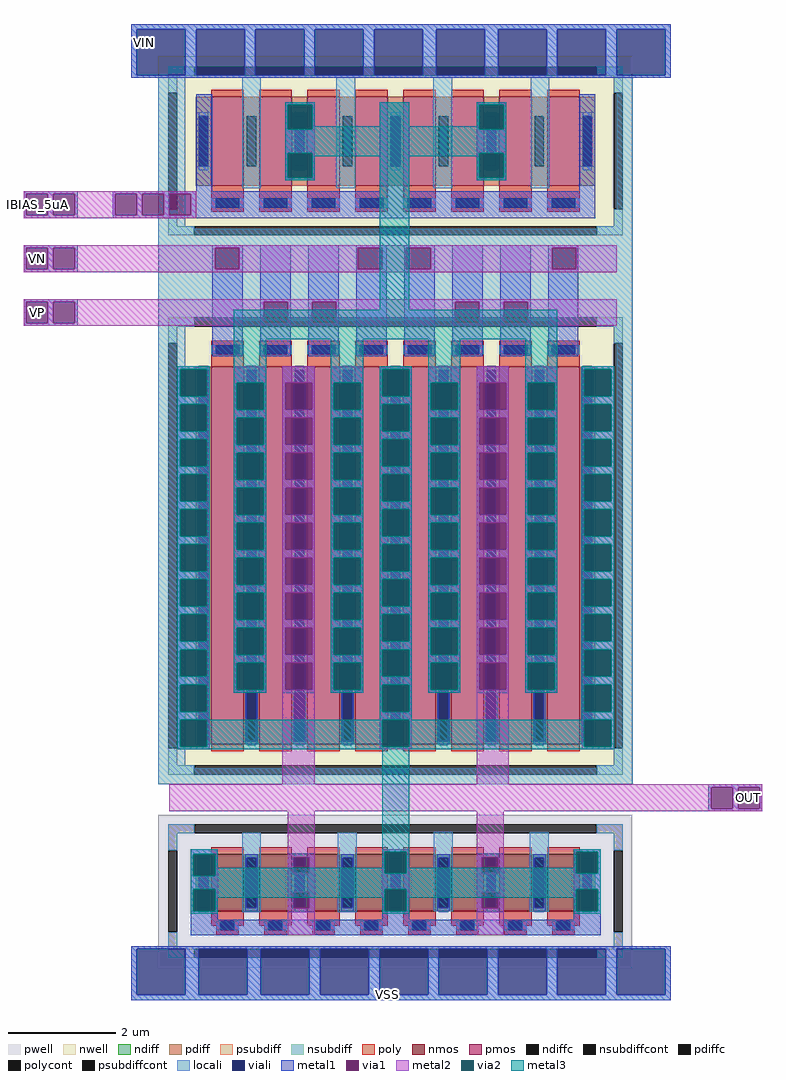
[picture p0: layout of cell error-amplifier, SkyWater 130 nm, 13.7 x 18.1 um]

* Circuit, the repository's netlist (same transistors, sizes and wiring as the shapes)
* NGSPICE file created from error-amplifier.ext - technology: sky130A

.subckt sky130_fd_pr__nfet_01v8_UX2DZA a_n207_n74# a_505_n74# a_n327_n129# a_327_n74#
+ a_385_n129# a_149_n74# a_n29_n74# a_n149_n129# a_207_n129# a_n741_n74# a_n563_n74#
+ a_n385_n74# a_683_n74# a_n843_n248# a_29_n129# a_n683_n129# a_n505_n129# a_563_n129#
X0 a_149_n74# a_29_n129# a_n29_n74# a_n843_n248# sky130_fd_pr__nfet_01v8 ad=0.15225 pd=1.34 as=0.15225 ps=1.34 w=1.05 l=0.6
X1 a_683_n74# a_563_n129# a_505_n74# a_n843_n248# sky130_fd_pr__nfet_01v8 ad=0.3045 pd=2.68 as=0.15225 ps=1.34 w=1.05 l=0.6
X2 a_n563_n74# a_n683_n129# a_n741_n74# a_n843_n248# sky130_fd_pr__nfet_01v8 ad=0.15225 pd=1.34 as=0.3045 ps=2.68 w=1.05 l=0.6
X3 a_327_n74# a_207_n129# a_149_n74# a_n843_n248# sky130_fd_pr__nfet_01v8 ad=0.15225 pd=1.34 as=0.15225 ps=1.34 w=1.05 l=0.6
X4 a_n207_n74# a_n327_n129# a_n385_n74# a_n843_n248# sky130_fd_pr__nfet_01v8 ad=0.15225 pd=1.34 as=0.15225 ps=1.34 w=1.05 l=0.6
X5 a_505_n74# a_385_n129# a_327_n74# a_n843_n248# sky130_fd_pr__nfet_01v8 ad=0.15225 pd=1.34 as=0.15225 ps=1.34 w=1.05 l=0.6
X6 a_n29_n74# a_n149_n129# a_n207_n74# a_n843_n248# sky130_fd_pr__nfet_01v8 ad=0.15225 pd=1.34 as=0.15225 ps=1.34 w=1.05 l=0.6
X7 a_n385_n74# a_n505_n129# a_n563_n74# a_n843_n248# sky130_fd_pr__nfet_01v8 ad=0.15225 pd=1.34 as=0.15225 ps=1.34 w=1.05 l=0.6
.ends

.subckt sky130_fd_pr__pfet_01v8_23YNHG a_n741_n736# a_n327_n762# a_385_n762# a_n563_n736#
+ a_683_n736# a_n149_n762# a_207_n762# w_n879_n884# a_n385_n736# a_505_n736# a_29_n762#
+ a_n683_n762# a_n207_n736# a_327_n736# a_n505_n762# a_n29_n736# a_563_n762# a_149_n736#
X0 a_n207_n736# a_n327_n762# a_n385_n736# w_n879_n884# sky130_fd_pr__pfet_01v8 ad=1.015 pd=7.29 as=1.015 ps=7.29 w=7 l=0.6
X1 a_683_n736# a_563_n762# a_505_n736# w_n879_n884# sky130_fd_pr__pfet_01v8 ad=2.03 pd=14.58 as=1.015 ps=7.29 w=7 l=0.6
X2 a_n29_n736# a_n149_n762# a_n207_n736# w_n879_n884# sky130_fd_pr__pfet_01v8 ad=1.015 pd=7.29 as=1.015 ps=7.29 w=7 l=0.6
X3 a_n563_n736# a_n683_n762# a_n741_n736# w_n879_n884# sky130_fd_pr__pfet_01v8 ad=1.015 pd=7.29 as=2.03 ps=14.58 w=7 l=0.6
X4 a_505_n736# a_385_n762# a_327_n736# w_n879_n884# sky130_fd_pr__pfet_01v8 ad=1.015 pd=7.29 as=1.015 ps=7.29 w=7 l=0.6
X5 a_n385_n736# a_n505_n762# a_n563_n736# w_n879_n884# sky130_fd_pr__pfet_01v8 ad=1.015 pd=7.29 as=1.015 ps=7.29 w=7 l=0.6
X6 a_327_n736# a_207_n762# a_149_n736# w_n879_n884# sky130_fd_pr__pfet_01v8 ad=1.015 pd=7.29 as=1.015 ps=7.29 w=7 l=0.6
X7 a_149_n736# a_29_n762# a_n29_n736# w_n879_n884# sky130_fd_pr__pfet_01v8 ad=1.015 pd=7.29 as=1.015 ps=7.29 w=7 l=0.6
.ends

.subckt sky130_fd_pr__pfet_01v8_ZYDSUC a_n385_n129# a_207_n226# w_n879_n349# a_505_n129#
+ a_n207_n129# a_29_n226# a_n683_n226# a_327_n129# a_n29_n129# a_149_n129# a_n505_n226#
+ a_563_n226# a_n741_n129# a_n327_n226# a_385_n226# a_n563_n129# a_683_n129# a_n149_n226#
X0 a_n385_n129# a_n505_n226# a_n563_n129# w_n879_n349# sky130_fd_pr__pfet_01v8 ad=0.23925 pd=1.94 as=0.23925 ps=1.94 w=1.65 l=0.6
X1 a_327_n129# a_207_n226# a_149_n129# w_n879_n349# sky130_fd_pr__pfet_01v8 ad=0.23925 pd=1.94 as=0.23925 ps=1.94 w=1.65 l=0.6
X2 a_149_n129# a_29_n226# a_n29_n129# w_n879_n349# sky130_fd_pr__pfet_01v8 ad=0.23925 pd=1.94 as=0.23925 ps=1.94 w=1.65 l=0.6
X3 a_n207_n129# a_n327_n226# a_n385_n129# w_n879_n349# sky130_fd_pr__pfet_01v8 ad=0.23925 pd=1.94 as=0.23925 ps=1.94 w=1.65 l=0.6
X4 a_683_n129# a_563_n226# a_505_n129# w_n879_n349# sky130_fd_pr__pfet_01v8 ad=0.4785 pd=3.88 as=0.23925 ps=1.94 w=1.65 l=0.6
X5 a_n29_n129# a_n149_n226# a_n207_n129# w_n879_n349# sky130_fd_pr__pfet_01v8 ad=0.23925 pd=1.94 as=0.23925 ps=1.94 w=1.65 l=0.6
X6 a_n563_n129# a_n683_n226# a_n741_n129# w_n879_n349# sky130_fd_pr__pfet_01v8 ad=0.23925 pd=1.94 as=0.4785 ps=3.88 w=1.65 l=0.6
X7 a_505_n129# a_385_n226# a_327_n129# w_n879_n349# sky130_fd_pr__pfet_01v8 ad=0.23925 pd=1.94 as=0.23925 ps=1.94 w=1.65 l=0.6
.ends

.subckt error-amplifier VIN VP VN IBIAS_5uA OUT VSS
XXM2 VSS VSS m1_1470_n1270# OUT m1_1470_n1270# VSS m1_1470_n1270# m1_1470_n1270# m1_1470_n1270#
+ m1_1470_n1270# VSS OUT m1_1470_n1270# VSS m1_1470_n1270# m1_1470_n1270# m1_1470_n1270#
+ m1_1470_n1270# sky130_fd_pr__nfet_01v8_UX2DZA
XXM3 m1_1470_n1270# VP VP m1_1680_n1060# m1_1470_n1270# VN VP VIN OUT m1_1680_n1060#
+ VN VN m1_1680_n1060# OUT VP m1_1470_n1270# VN m1_1680_n1060# sky130_fd_pr__pfet_01v8_23YNHG
XXM5 m1_1680_n1060# IBIAS_5uA VIN VIN VIN IBIAS_5uA IBIAS_5uA m1_1680_n1060# IBIAS_5uA
+ VIN IBIAS_5uA IBIAS_5uA IBIAS_5uA IBIAS_5uA IBIAS_5uA VIN IBIAS_5uA IBIAS_5uA sky130_fd_pr__pfet_01v8_ZYDSUC
.ends

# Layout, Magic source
magic
tech sky130A
magscale 1 2
<< nwell >>
rect 1400 -1400 3158 1300
<< locali >>
rect 1300 1400 3300 1420
rect 1300 1230 1320 1400
rect 1500 1230 1540 1400
rect 1720 1230 1760 1400
rect 1940 1230 1980 1400
rect 2160 1230 2200 1400
rect 2380 1230 2430 1400
rect 2610 1230 2660 1400
rect 2840 1230 2880 1400
rect 3060 1230 3100 1400
rect 3280 1230 3300 1400
rect 1300 1220 3300 1230
rect 1400 660 1500 1220
rect 1710 810 1780 1220
rect 2060 810 2130 1220
rect 2420 810 2490 1220
rect 2780 810 2850 1220
rect 3100 660 3160 1220
rect 1400 320 3160 660
rect 1400 -1340 1500 320
rect 3100 -1340 3160 320
rect 1400 -1400 3160 -1340
rect 1710 -1874 1780 -1580
rect 2066 -1874 2136 -1580
rect 2422 -1870 2492 -1576
rect 2778 -1872 2848 -1578
rect 1300 -2010 3300 -2000
rect 1300 -2180 1320 -2010
rect 1500 -2180 1550 -2010
rect 1730 -2180 1780 -2010
rect 1960 -2180 2000 -2010
rect 2180 -2180 2220 -2010
rect 2400 -2180 2440 -2010
rect 2620 -2180 2660 -2010
rect 2840 -2180 2880 -2010
rect 3060 -2180 3100 -2010
rect 3280 -2180 3300 -2010
rect 1300 -2200 3300 -2180
<< viali >>
rect 1320 1230 1500 1400
rect 1540 1230 1720 1400
rect 1760 1230 1940 1400
rect 1980 1230 2160 1400
rect 2200 1230 2380 1400
rect 2430 1230 2610 1400
rect 2660 1230 2840 1400
rect 2880 1230 3060 1400
rect 3100 1230 3280 1400
rect 1320 -2180 1500 -2010
rect 1550 -2180 1730 -2010
rect 1780 -2180 1960 -2010
rect 2000 -2180 2180 -2010
rect 2220 -2180 2400 -2010
rect 2440 -2180 2620 -2010
rect 2660 -2180 2840 -2010
rect 2880 -2180 3060 -2010
rect 3100 -2180 3280 -2010
<< metal1 >>
rect 1300 1400 3300 1420
rect 1300 1230 1320 1400
rect 1500 1230 1540 1400
rect 1720 1230 1760 1400
rect 1940 1230 1980 1400
rect 2160 1230 2200 1400
rect 2380 1230 2430 1400
rect 2610 1230 2660 1400
rect 2840 1230 2880 1400
rect 3060 1230 3100 1400
rect 3280 1230 3300 1400
rect 1300 1220 3300 1230
rect 1540 800 1600 1160
rect 1870 1120 1980 1130
rect 1870 1030 1880 1120
rect 1970 1030 1980 1120
rect 1870 940 1980 1030
rect 1870 850 1880 940
rect 1970 850 1980 940
rect 1870 840 1980 850
rect 2220 800 2330 1130
rect 2580 1120 2690 1130
rect 2580 1030 2590 1120
rect 2680 1030 2690 1120
rect 2580 940 2690 1030
rect 2580 850 2590 940
rect 2680 850 2690 940
rect 2580 840 2690 850
rect 2960 800 3020 1160
rect 900 790 1100 800
rect 900 710 910 790
rect 990 710 1010 790
rect 1090 710 1100 790
rect 900 700 1100 710
rect 1230 790 3020 800
rect 1230 710 1240 790
rect 1320 710 1340 790
rect 1420 710 1440 790
rect 1520 710 3020 790
rect 1230 700 3020 710
rect 900 590 1100 600
rect 900 510 910 590
rect 990 510 1010 590
rect 1090 510 1100 590
rect 900 500 1100 510
rect 1600 590 1712 600
rect 1600 510 1610 590
rect 1700 510 1712 590
rect 900 390 1100 400
rect 900 310 910 390
rect 990 310 1010 390
rect 1090 310 1100 390
rect 900 300 1100 310
rect 1600 188 1712 510
rect 1778 390 1890 600
rect 1778 310 1790 390
rect 1880 310 1890 390
rect 1778 188 1890 310
rect 1956 390 2068 600
rect 1956 310 1970 390
rect 2060 310 2068 390
rect 1956 188 2068 310
rect 2134 590 2246 600
rect 2134 510 2140 590
rect 2230 510 2246 590
rect 2134 188 2246 510
rect 2312 590 2424 600
rect 2312 510 2320 590
rect 2410 510 2424 590
rect 2312 188 2424 510
rect 2490 390 2602 600
rect 2490 310 2500 390
rect 2590 310 2602 390
rect 2490 188 2602 310
rect 2668 390 2780 600
rect 2668 310 2680 390
rect 2770 310 2780 390
rect 2668 190 2780 310
rect 2846 590 2958 600
rect 2846 510 2860 590
rect 2950 510 2958 590
rect 2668 188 2750 190
rect 2846 188 2958 510
rect 1470 140 1590 150
rect 1470 40 1480 140
rect 1580 40 1590 140
rect 1470 10 1590 40
rect 1470 -90 1480 10
rect 1580 -90 1590 10
rect 1470 -120 1590 -90
rect 1470 -220 1480 -120
rect 1580 -220 1590 -120
rect 1470 -250 1590 -220
rect 1470 -350 1480 -250
rect 1580 -350 1590 -250
rect 1470 -380 1590 -350
rect 1470 -480 1480 -380
rect 1580 -480 1590 -380
rect 1470 -510 1590 -480
rect 1470 -610 1480 -510
rect 1580 -610 1590 -510
rect 1470 -640 1590 -610
rect 1470 -740 1480 -640
rect 1580 -740 1590 -640
rect 1470 -770 1590 -740
rect 1470 -870 1480 -770
rect 1580 -870 1590 -770
rect 1470 -900 1590 -870
rect 1470 -1000 1480 -900
rect 1580 -1000 1590 -900
rect 1470 -1030 1590 -1000
rect 1470 -1130 1480 -1030
rect 1580 -1130 1590 -1030
rect 1680 90 1800 150
rect 1680 -10 1690 90
rect 1790 -10 1800 90
rect 1680 -40 1800 -10
rect 1680 -140 1690 -40
rect 1790 -140 1800 -40
rect 1680 -170 1800 -140
rect 1680 -270 1690 -170
rect 1790 -270 1800 -170
rect 1680 -300 1800 -270
rect 1680 -400 1690 -300
rect 1790 -400 1800 -300
rect 1680 -430 1800 -400
rect 1680 -530 1690 -430
rect 1790 -530 1800 -430
rect 1680 -560 1800 -530
rect 1680 -660 1690 -560
rect 1790 -660 1800 -560
rect 1680 -690 1800 -660
rect 1680 -790 1690 -690
rect 1790 -790 1800 -690
rect 1680 -820 1800 -790
rect 1680 -920 1690 -820
rect 1790 -920 1800 -820
rect 1680 -950 1800 -920
rect 1680 -1050 1690 -950
rect 1790 -1050 1800 -950
rect 1680 -1060 1800 -1050
rect 1860 90 1980 150
rect 1860 -10 1870 90
rect 1970 -10 1980 90
rect 1860 -40 1980 -10
rect 1860 -140 1870 -40
rect 1970 -140 1980 -40
rect 1860 -170 1980 -140
rect 1860 -270 1870 -170
rect 1970 -270 1980 -170
rect 1860 -300 1980 -270
rect 1860 -400 1870 -300
rect 1970 -400 1980 -300
rect 1860 -430 1980 -400
rect 1860 -530 1870 -430
rect 1970 -530 1980 -430
rect 1860 -560 1980 -530
rect 1860 -660 1870 -560
rect 1970 -660 1980 -560
rect 1860 -690 1980 -660
rect 1860 -790 1870 -690
rect 1970 -790 1980 -690
rect 1860 -820 1980 -790
rect 1860 -920 1870 -820
rect 1970 -920 1980 -820
rect 1860 -950 1980 -920
rect 1860 -1050 1870 -950
rect 1970 -1050 1980 -950
rect 1860 -1060 1980 -1050
rect 2040 90 2160 150
rect 2040 -10 2050 90
rect 2150 -10 2160 90
rect 2040 -40 2160 -10
rect 2040 -140 2050 -40
rect 2150 -140 2160 -40
rect 2040 -170 2160 -140
rect 2040 -270 2050 -170
rect 2150 -270 2160 -170
rect 2040 -300 2160 -270
rect 2040 -400 2050 -300
rect 2150 -400 2160 -300
rect 2040 -430 2160 -400
rect 2040 -530 2050 -430
rect 2150 -530 2160 -430
rect 2040 -560 2160 -530
rect 2040 -660 2050 -560
rect 2150 -660 2160 -560
rect 2040 -690 2160 -660
rect 2040 -790 2050 -690
rect 2150 -790 2160 -690
rect 2040 -820 2160 -790
rect 2040 -920 2050 -820
rect 2150 -920 2160 -820
rect 2040 -950 2160 -920
rect 2040 -1050 2050 -950
rect 2150 -1050 2160 -950
rect 2040 -1060 2160 -1050
rect 2220 140 2340 150
rect 2220 40 2230 140
rect 2330 40 2340 140
rect 2220 10 2340 40
rect 2220 -90 2230 10
rect 2330 -90 2340 10
rect 2220 -120 2340 -90
rect 2220 -220 2230 -120
rect 2330 -220 2340 -120
rect 2220 -250 2340 -220
rect 2220 -350 2230 -250
rect 2330 -350 2340 -250
rect 2220 -380 2340 -350
rect 2220 -480 2230 -380
rect 2330 -480 2340 -380
rect 2220 -510 2340 -480
rect 2220 -610 2230 -510
rect 2330 -610 2340 -510
rect 2220 -640 2340 -610
rect 2220 -740 2230 -640
rect 2330 -740 2340 -640
rect 2220 -770 2340 -740
rect 2220 -870 2230 -770
rect 2330 -870 2340 -770
rect 2220 -900 2340 -870
rect 2220 -1000 2230 -900
rect 2330 -1000 2340 -900
rect 2220 -1030 2340 -1000
rect 1470 -1160 1590 -1130
rect 1470 -1260 1480 -1160
rect 1580 -1260 1590 -1160
rect 1470 -1270 1590 -1260
rect 2220 -1130 2230 -1030
rect 2330 -1130 2340 -1030
rect 2400 90 2520 150
rect 2400 -10 2410 90
rect 2510 -10 2520 90
rect 2400 -40 2520 -10
rect 2400 -140 2410 -40
rect 2510 -140 2520 -40
rect 2400 -170 2520 -140
rect 2400 -270 2410 -170
rect 2510 -270 2520 -170
rect 2400 -300 2520 -270
rect 2400 -400 2410 -300
rect 2510 -400 2520 -300
rect 2400 -430 2520 -400
rect 2400 -530 2410 -430
rect 2510 -530 2520 -430
rect 2400 -560 2520 -530
rect 2400 -660 2410 -560
rect 2510 -660 2520 -560
rect 2400 -690 2520 -660
rect 2400 -790 2410 -690
rect 2510 -790 2520 -690
rect 2400 -820 2520 -790
rect 2400 -920 2410 -820
rect 2510 -920 2520 -820
rect 2400 -950 2520 -920
rect 2400 -1050 2410 -950
rect 2510 -1050 2520 -950
rect 2400 -1060 2520 -1050
rect 2580 90 2700 150
rect 2580 -10 2590 90
rect 2690 -10 2700 90
rect 2580 -40 2700 -10
rect 2580 -140 2590 -40
rect 2690 -140 2700 -40
rect 2580 -170 2700 -140
rect 2580 -270 2590 -170
rect 2690 -270 2700 -170
rect 2580 -300 2700 -270
rect 2580 -400 2590 -300
rect 2690 -400 2700 -300
rect 2580 -430 2700 -400
rect 2580 -530 2590 -430
rect 2690 -530 2700 -430
rect 2580 -560 2700 -530
rect 2580 -660 2590 -560
rect 2690 -660 2700 -560
rect 2580 -690 2700 -660
rect 2580 -790 2590 -690
rect 2690 -790 2700 -690
rect 2580 -820 2700 -790
rect 2580 -920 2590 -820
rect 2690 -920 2700 -820
rect 2580 -950 2700 -920
rect 2580 -1050 2590 -950
rect 2690 -1050 2700 -950
rect 2580 -1060 2700 -1050
rect 2760 90 2880 150
rect 2760 -10 2770 90
rect 2870 -10 2880 90
rect 2760 -40 2880 -10
rect 2760 -140 2770 -40
rect 2870 -140 2880 -40
rect 2760 -170 2880 -140
rect 2760 -270 2770 -170
rect 2870 -270 2880 -170
rect 2760 -300 2880 -270
rect 2760 -400 2770 -300
rect 2870 -400 2880 -300
rect 2760 -430 2880 -400
rect 2760 -530 2770 -430
rect 2870 -530 2880 -430
rect 2760 -560 2880 -530
rect 2760 -660 2770 -560
rect 2870 -660 2880 -560
rect 2760 -690 2880 -660
rect 2760 -790 2770 -690
rect 2870 -790 2880 -690
rect 2760 -820 2880 -790
rect 2760 -920 2770 -820
rect 2870 -920 2880 -820
rect 2760 -950 2880 -920
rect 2760 -1050 2770 -950
rect 2870 -1050 2880 -950
rect 2760 -1060 2880 -1050
rect 2970 140 3090 150
rect 2970 40 2980 140
rect 3080 40 3090 140
rect 2970 10 3090 40
rect 2970 -90 2980 10
rect 3080 -90 3090 10
rect 2970 -120 3090 -90
rect 2970 -220 2980 -120
rect 3080 -220 3090 -120
rect 2970 -250 3090 -220
rect 2970 -350 2980 -250
rect 3080 -350 3090 -250
rect 2970 -380 3090 -350
rect 2970 -480 2980 -380
rect 3080 -480 3090 -380
rect 2970 -510 3090 -480
rect 2970 -610 2980 -510
rect 3080 -610 3090 -510
rect 2970 -640 3090 -610
rect 2970 -740 2980 -640
rect 3080 -740 3090 -640
rect 2970 -770 3090 -740
rect 2970 -870 2980 -770
rect 3080 -870 3090 -770
rect 2970 -900 3090 -870
rect 2970 -1000 2980 -900
rect 3080 -1000 3090 -900
rect 2970 -1030 3090 -1000
rect 2220 -1160 2340 -1130
rect 2220 -1260 2230 -1160
rect 2330 -1260 2340 -1160
rect 2220 -1270 2340 -1260
rect 2970 -1130 2980 -1030
rect 3080 -1130 3090 -1030
rect 2970 -1160 3090 -1130
rect 2970 -1260 2980 -1160
rect 3080 -1260 3090 -1160
rect 2970 -1270 3090 -1260
rect 3440 -1410 3640 -1400
rect 3440 -1490 3450 -1410
rect 3530 -1490 3550 -1410
rect 3630 -1490 3640 -1410
rect 3440 -1500 3640 -1490
rect 1520 -1660 1620 -1640
rect 2230 -1650 2330 -1640
rect 1520 -1740 1530 -1660
rect 1610 -1740 1620 -1660
rect 1520 -1790 1620 -1740
rect 1520 -1870 1530 -1790
rect 1610 -1870 1620 -1790
rect 1520 -1902 1620 -1870
rect 1880 -1670 1980 -1656
rect 1880 -1730 1900 -1670
rect 1960 -1730 1980 -1670
rect 1880 -1800 1980 -1730
rect 1880 -1860 1900 -1800
rect 1960 -1860 1980 -1800
rect 1880 -1874 1980 -1860
rect 2230 -1730 2240 -1650
rect 2320 -1730 2330 -1650
rect 2940 -1650 3040 -1640
rect 2230 -1790 2330 -1730
rect 2230 -1870 2240 -1790
rect 2320 -1870 2330 -1790
rect 2230 -1902 2330 -1870
rect 2580 -1670 2680 -1656
rect 2580 -1730 2600 -1670
rect 2660 -1730 2680 -1670
rect 2580 -1800 2680 -1730
rect 2580 -1860 2600 -1800
rect 2660 -1860 2680 -1800
rect 2580 -1874 2680 -1860
rect 2940 -1730 2950 -1650
rect 3030 -1730 3040 -1650
rect 2940 -1790 3040 -1730
rect 2940 -1870 2950 -1790
rect 3030 -1870 3040 -1790
rect 2940 -1902 3040 -1870
rect 1520 -1960 3040 -1902
rect 1300 -2010 3300 -2000
rect 1300 -2180 1320 -2010
rect 1500 -2180 1550 -2010
rect 1730 -2180 1780 -2010
rect 1960 -2180 2000 -2010
rect 2180 -2180 2220 -2010
rect 2400 -2180 2440 -2010
rect 2620 -2180 2660 -2010
rect 2840 -2180 2880 -2010
rect 3060 -2180 3100 -2010
rect 3280 -2180 3300 -2010
rect 1300 -2200 3300 -2180
<< via1 >>
rect 1880 1030 1970 1120
rect 1880 850 1970 940
rect 2590 1030 2680 1120
rect 2590 850 2680 940
rect 910 710 990 790
rect 1010 710 1090 790
rect 1240 710 1320 790
rect 1340 710 1420 790
rect 1440 710 1520 790
rect 910 510 990 590
rect 1010 510 1090 590
rect 1610 510 1700 590
rect 910 310 990 390
rect 1010 310 1090 390
rect 1790 310 1880 390
rect 1970 310 2060 390
rect 2140 510 2230 590
rect 2320 510 2410 590
rect 2500 310 2590 390
rect 2680 310 2770 390
rect 2860 510 2950 590
rect 1480 40 1580 140
rect 1480 -90 1580 10
rect 1480 -220 1580 -120
rect 1480 -350 1580 -250
rect 1480 -480 1580 -380
rect 1480 -610 1580 -510
rect 1480 -740 1580 -640
rect 1480 -870 1580 -770
rect 1480 -1000 1580 -900
rect 1480 -1130 1580 -1030
rect 1690 -10 1790 90
rect 1690 -140 1790 -40
rect 1690 -270 1790 -170
rect 1690 -400 1790 -300
rect 1690 -530 1790 -430
rect 1690 -660 1790 -560
rect 1690 -790 1790 -690
rect 1690 -920 1790 -820
rect 1690 -1050 1790 -950
rect 1870 -10 1970 90
rect 1870 -140 1970 -40
rect 1870 -270 1970 -170
rect 1870 -400 1970 -300
rect 1870 -530 1970 -430
rect 1870 -660 1970 -560
rect 1870 -790 1970 -690
rect 1870 -920 1970 -820
rect 1870 -1050 1970 -950
rect 2050 -10 2150 90
rect 2050 -140 2150 -40
rect 2050 -270 2150 -170
rect 2050 -400 2150 -300
rect 2050 -530 2150 -430
rect 2050 -660 2150 -560
rect 2050 -790 2150 -690
rect 2050 -920 2150 -820
rect 2050 -1050 2150 -950
rect 2230 40 2330 140
rect 2230 -90 2330 10
rect 2230 -220 2330 -120
rect 2230 -350 2330 -250
rect 2230 -480 2330 -380
rect 2230 -610 2330 -510
rect 2230 -740 2330 -640
rect 2230 -870 2330 -770
rect 2230 -1000 2330 -900
rect 1480 -1260 1580 -1160
rect 2230 -1130 2330 -1030
rect 2410 -10 2510 90
rect 2410 -140 2510 -40
rect 2410 -270 2510 -170
rect 2410 -400 2510 -300
rect 2410 -530 2510 -430
rect 2410 -660 2510 -560
rect 2410 -790 2510 -690
rect 2410 -920 2510 -820
rect 2410 -1050 2510 -950
rect 2590 -10 2690 90
rect 2590 -140 2690 -40
rect 2590 -270 2690 -170
rect 2590 -400 2690 -300
rect 2590 -530 2690 -430
rect 2590 -660 2690 -560
rect 2590 -790 2690 -690
rect 2590 -920 2690 -820
rect 2590 -1050 2690 -950
rect 2770 -10 2870 90
rect 2770 -140 2870 -40
rect 2770 -270 2870 -170
rect 2770 -400 2870 -300
rect 2770 -530 2870 -430
rect 2770 -660 2870 -560
rect 2770 -790 2870 -690
rect 2770 -920 2870 -820
rect 2770 -1050 2870 -950
rect 2980 40 3080 140
rect 2980 -90 3080 10
rect 2980 -220 3080 -120
rect 2980 -350 3080 -250
rect 2980 -480 3080 -380
rect 2980 -610 3080 -510
rect 2980 -740 3080 -640
rect 2980 -870 3080 -770
rect 2980 -1000 3080 -900
rect 2230 -1260 2330 -1160
rect 2980 -1130 3080 -1030
rect 2980 -1260 3080 -1160
rect 3450 -1490 3530 -1410
rect 3550 -1490 3630 -1410
rect 1530 -1740 1610 -1660
rect 1530 -1870 1610 -1790
rect 1900 -1730 1960 -1670
rect 1900 -1860 1960 -1800
rect 2240 -1730 2320 -1650
rect 2240 -1870 2320 -1790
rect 2600 -1730 2660 -1670
rect 2600 -1860 2660 -1800
rect 2950 -1730 3030 -1650
rect 2950 -1870 3030 -1790
<< metal2 >>
rect 1870 1120 1980 1130
rect 1870 1030 1880 1120
rect 1970 1030 1980 1120
rect 1870 940 1980 1030
rect 1870 850 1880 940
rect 1970 850 1980 940
rect 1870 840 1980 850
rect 2580 1120 2690 1130
rect 2580 1030 2590 1120
rect 2680 1030 2690 1120
rect 2580 940 2690 1030
rect 2580 850 2590 940
rect 2680 850 2690 940
rect 2580 840 2690 850
rect 900 790 1540 800
rect 900 710 910 790
rect 990 710 1010 790
rect 1090 710 1240 790
rect 1320 710 1340 790
rect 1420 710 1440 790
rect 1520 710 1540 790
rect 900 700 1540 710
rect 900 590 3100 600
rect 900 510 910 590
rect 990 510 1010 590
rect 1090 510 1610 590
rect 1700 510 2140 590
rect 2230 510 2320 590
rect 2410 510 2860 590
rect 2950 510 3100 590
rect 900 500 3100 510
rect 900 390 3100 400
rect 900 310 910 390
rect 990 310 1010 390
rect 1090 310 1790 390
rect 1880 310 1970 390
rect 2060 310 2500 390
rect 2590 310 2680 390
rect 2770 310 3100 390
rect 900 300 3100 310
rect 1470 140 1590 150
rect 1470 40 1480 140
rect 1580 40 1590 140
rect 1470 10 1590 40
rect 1470 -90 1480 10
rect 1580 -90 1590 10
rect 1470 -120 1590 -90
rect 1470 -220 1480 -120
rect 1580 -220 1590 -120
rect 1470 -250 1590 -220
rect 1470 -350 1480 -250
rect 1580 -350 1590 -250
rect 1470 -380 1590 -350
rect 1470 -480 1480 -380
rect 1580 -480 1590 -380
rect 1470 -510 1590 -480
rect 1470 -610 1480 -510
rect 1580 -610 1590 -510
rect 1470 -640 1590 -610
rect 1470 -740 1480 -640
rect 1580 -740 1590 -640
rect 1470 -770 1590 -740
rect 1470 -870 1480 -770
rect 1580 -870 1590 -770
rect 1470 -900 1590 -870
rect 1470 -1000 1480 -900
rect 1580 -1000 1590 -900
rect 1470 -1030 1590 -1000
rect 1470 -1130 1480 -1030
rect 1580 -1130 1590 -1030
rect 1680 90 1800 150
rect 1680 -10 1690 90
rect 1790 -10 1800 90
rect 1680 -40 1800 -10
rect 1680 -140 1690 -40
rect 1790 -140 1800 -40
rect 1680 -170 1800 -140
rect 1680 -270 1690 -170
rect 1790 -270 1800 -170
rect 1680 -300 1800 -270
rect 1680 -400 1690 -300
rect 1790 -400 1800 -300
rect 1680 -430 1800 -400
rect 1680 -530 1690 -430
rect 1790 -530 1800 -430
rect 1680 -560 1800 -530
rect 1680 -660 1690 -560
rect 1790 -660 1800 -560
rect 1680 -690 1800 -660
rect 1680 -790 1690 -690
rect 1790 -790 1800 -690
rect 1680 -820 1800 -790
rect 1680 -920 1690 -820
rect 1790 -920 1800 -820
rect 1680 -950 1800 -920
rect 1680 -1050 1690 -950
rect 1790 -1050 1800 -950
rect 1680 -1060 1800 -1050
rect 1860 90 1980 150
rect 1860 -10 1870 90
rect 1970 -10 1980 90
rect 1860 -40 1980 -10
rect 1860 -140 1870 -40
rect 1970 -140 1980 -40
rect 1860 -170 1980 -140
rect 1860 -270 1870 -170
rect 1970 -270 1980 -170
rect 1860 -300 1980 -270
rect 1860 -400 1870 -300
rect 1970 -400 1980 -300
rect 1860 -430 1980 -400
rect 1860 -530 1870 -430
rect 1970 -530 1980 -430
rect 1860 -560 1980 -530
rect 1860 -660 1870 -560
rect 1970 -660 1980 -560
rect 1860 -690 1980 -660
rect 1860 -790 1870 -690
rect 1970 -790 1980 -690
rect 1860 -820 1980 -790
rect 1860 -920 1870 -820
rect 1970 -920 1980 -820
rect 1860 -950 1980 -920
rect 1860 -1050 1870 -950
rect 1970 -1050 1980 -950
rect 1470 -1160 1590 -1130
rect 1470 -1260 1480 -1160
rect 1580 -1260 1590 -1160
rect 1470 -1270 1590 -1260
rect 1860 -1400 1980 -1050
rect 2040 90 2160 150
rect 2040 -10 2050 90
rect 2150 -10 2160 90
rect 2040 -40 2160 -10
rect 2040 -140 2050 -40
rect 2150 -140 2160 -40
rect 2040 -170 2160 -140
rect 2040 -270 2050 -170
rect 2150 -270 2160 -170
rect 2040 -300 2160 -270
rect 2040 -400 2050 -300
rect 2150 -400 2160 -300
rect 2040 -430 2160 -400
rect 2040 -530 2050 -430
rect 2150 -530 2160 -430
rect 2040 -560 2160 -530
rect 2040 -660 2050 -560
rect 2150 -660 2160 -560
rect 2040 -690 2160 -660
rect 2040 -790 2050 -690
rect 2150 -790 2160 -690
rect 2040 -820 2160 -790
rect 2040 -920 2050 -820
rect 2150 -920 2160 -820
rect 2040 -950 2160 -920
rect 2040 -1050 2050 -950
rect 2150 -1050 2160 -950
rect 2040 -1060 2160 -1050
rect 2220 140 2340 150
rect 2220 40 2230 140
rect 2330 40 2340 140
rect 2220 10 2340 40
rect 2220 -90 2230 10
rect 2330 -90 2340 10
rect 2220 -120 2340 -90
rect 2220 -220 2230 -120
rect 2330 -220 2340 -120
rect 2220 -250 2340 -220
rect 2220 -350 2230 -250
rect 2330 -350 2340 -250
rect 2220 -380 2340 -350
rect 2220 -480 2230 -380
rect 2330 -480 2340 -380
rect 2220 -510 2340 -480
rect 2220 -610 2230 -510
rect 2330 -610 2340 -510
rect 2220 -640 2340 -610
rect 2220 -740 2230 -640
rect 2330 -740 2340 -640
rect 2220 -770 2340 -740
rect 2220 -870 2230 -770
rect 2330 -870 2340 -770
rect 2220 -900 2340 -870
rect 2220 -1000 2230 -900
rect 2330 -1000 2340 -900
rect 2220 -1030 2340 -1000
rect 2220 -1130 2230 -1030
rect 2330 -1130 2340 -1030
rect 2400 90 2520 150
rect 2400 -10 2410 90
rect 2510 -10 2520 90
rect 2400 -40 2520 -10
rect 2400 -140 2410 -40
rect 2510 -140 2520 -40
rect 2400 -170 2520 -140
rect 2400 -270 2410 -170
rect 2510 -270 2520 -170
rect 2400 -300 2520 -270
rect 2400 -400 2410 -300
rect 2510 -400 2520 -300
rect 2400 -430 2520 -400
rect 2400 -530 2410 -430
rect 2510 -530 2520 -430
rect 2400 -560 2520 -530
rect 2400 -660 2410 -560
rect 2510 -660 2520 -560
rect 2400 -690 2520 -660
rect 2400 -790 2410 -690
rect 2510 -790 2520 -690
rect 2400 -820 2520 -790
rect 2400 -920 2410 -820
rect 2510 -920 2520 -820
rect 2400 -950 2520 -920
rect 2400 -1050 2410 -950
rect 2510 -1050 2520 -950
rect 2400 -1060 2520 -1050
rect 2580 90 2700 150
rect 2580 -10 2590 90
rect 2690 -10 2700 90
rect 2580 -40 2700 -10
rect 2580 -140 2590 -40
rect 2690 -140 2700 -40
rect 2580 -170 2700 -140
rect 2580 -270 2590 -170
rect 2690 -270 2700 -170
rect 2580 -300 2700 -270
rect 2580 -400 2590 -300
rect 2690 -400 2700 -300
rect 2580 -430 2700 -400
rect 2580 -530 2590 -430
rect 2690 -530 2700 -430
rect 2580 -560 2700 -530
rect 2580 -660 2590 -560
rect 2690 -660 2700 -560
rect 2580 -690 2700 -660
rect 2580 -790 2590 -690
rect 2690 -790 2700 -690
rect 2580 -820 2700 -790
rect 2580 -920 2590 -820
rect 2690 -920 2700 -820
rect 2580 -950 2700 -920
rect 2580 -1050 2590 -950
rect 2690 -1050 2700 -950
rect 2220 -1160 2340 -1130
rect 2220 -1260 2230 -1160
rect 2330 -1260 2340 -1160
rect 2220 -1270 2340 -1260
rect 2580 -1400 2700 -1050
rect 2760 90 2880 150
rect 2760 -10 2770 90
rect 2870 -10 2880 90
rect 2760 -40 2880 -10
rect 2760 -140 2770 -40
rect 2870 -140 2880 -40
rect 2760 -170 2880 -140
rect 2760 -270 2770 -170
rect 2870 -270 2880 -170
rect 2760 -300 2880 -270
rect 2760 -400 2770 -300
rect 2870 -400 2880 -300
rect 2760 -430 2880 -400
rect 2760 -530 2770 -430
rect 2870 -530 2880 -430
rect 2760 -560 2880 -530
rect 2760 -660 2770 -560
rect 2870 -660 2880 -560
rect 2760 -690 2880 -660
rect 2760 -790 2770 -690
rect 2870 -790 2880 -690
rect 2760 -820 2880 -790
rect 2760 -920 2770 -820
rect 2870 -920 2880 -820
rect 2760 -950 2880 -920
rect 2760 -1050 2770 -950
rect 2870 -1050 2880 -950
rect 2760 -1060 2880 -1050
rect 2970 140 3090 150
rect 2970 40 2980 140
rect 3080 40 3090 140
rect 2970 10 3090 40
rect 2970 -90 2980 10
rect 3080 -90 3090 10
rect 2970 -120 3090 -90
rect 2970 -220 2980 -120
rect 3080 -220 3090 -120
rect 2970 -250 3090 -220
rect 2970 -350 2980 -250
rect 3080 -350 3090 -250
rect 2970 -380 3090 -350
rect 2970 -480 2980 -380
rect 3080 -480 3090 -380
rect 2970 -510 3090 -480
rect 2970 -610 2980 -510
rect 3080 -610 3090 -510
rect 2970 -640 3090 -610
rect 2970 -740 2980 -640
rect 3080 -740 3090 -640
rect 2970 -770 3090 -740
rect 2970 -870 2980 -770
rect 3080 -870 3090 -770
rect 2970 -900 3090 -870
rect 2970 -1000 2980 -900
rect 3080 -1000 3090 -900
rect 2970 -1030 3090 -1000
rect 2970 -1130 2980 -1030
rect 3080 -1130 3090 -1030
rect 2970 -1160 3090 -1130
rect 2970 -1260 2980 -1160
rect 3080 -1260 3090 -1160
rect 2970 -1270 3090 -1260
rect 1440 -1410 3640 -1400
rect 1440 -1490 3450 -1410
rect 3530 -1490 3550 -1410
rect 3630 -1490 3640 -1410
rect 1440 -1500 3640 -1490
rect 1520 -1660 1620 -1640
rect 1520 -1740 1530 -1660
rect 1610 -1740 1620 -1660
rect 1520 -1790 1620 -1740
rect 1520 -1870 1530 -1790
rect 1610 -1870 1620 -1790
rect 1520 -1880 1620 -1870
rect 1880 -1670 1980 -1500
rect 1880 -1730 1900 -1670
rect 1960 -1730 1980 -1670
rect 1880 -1800 1980 -1730
rect 1880 -1860 1900 -1800
rect 1960 -1860 1980 -1800
rect 1880 -1960 1980 -1860
rect 2230 -1650 2330 -1640
rect 2230 -1730 2240 -1650
rect 2320 -1730 2330 -1650
rect 2230 -1790 2330 -1730
rect 2230 -1870 2240 -1790
rect 2320 -1870 2330 -1790
rect 2230 -1880 2330 -1870
rect 2580 -1670 2680 -1500
rect 2580 -1730 2600 -1670
rect 2660 -1730 2680 -1670
rect 2580 -1800 2680 -1730
rect 2580 -1860 2600 -1800
rect 2660 -1860 2680 -1800
rect 2580 -1960 2680 -1860
rect 2940 -1650 3040 -1640
rect 2940 -1730 2950 -1650
rect 3030 -1730 3040 -1650
rect 2940 -1790 3040 -1730
rect 2940 -1870 2950 -1790
rect 3030 -1870 3040 -1790
rect 2940 -1880 3040 -1870
<< via2 >>
rect 1880 1030 1970 1120
rect 1880 850 1970 940
rect 2590 1030 2680 1120
rect 2590 850 2680 940
rect 1480 40 1580 140
rect 1480 -90 1580 10
rect 1480 -220 1580 -120
rect 1480 -350 1580 -250
rect 1480 -480 1580 -380
rect 1480 -610 1580 -510
rect 1480 -740 1580 -640
rect 1480 -870 1580 -770
rect 1480 -1000 1580 -900
rect 1480 -1130 1580 -1030
rect 1690 -10 1790 90
rect 1690 -140 1790 -40
rect 1690 -270 1790 -170
rect 1690 -400 1790 -300
rect 1690 -530 1790 -430
rect 1690 -660 1790 -560
rect 1690 -790 1790 -690
rect 1690 -920 1790 -820
rect 1690 -1050 1790 -950
rect 1480 -1260 1580 -1160
rect 2050 -10 2150 90
rect 2050 -140 2150 -40
rect 2050 -270 2150 -170
rect 2050 -400 2150 -300
rect 2050 -530 2150 -430
rect 2050 -660 2150 -560
rect 2050 -790 2150 -690
rect 2050 -920 2150 -820
rect 2050 -1050 2150 -950
rect 2230 40 2330 140
rect 2230 -90 2330 10
rect 2230 -220 2330 -120
rect 2230 -350 2330 -250
rect 2230 -480 2330 -380
rect 2230 -610 2330 -510
rect 2230 -740 2330 -640
rect 2230 -870 2330 -770
rect 2230 -1000 2330 -900
rect 2230 -1130 2330 -1030
rect 2410 -10 2510 90
rect 2410 -140 2510 -40
rect 2410 -270 2510 -170
rect 2410 -400 2510 -300
rect 2410 -530 2510 -430
rect 2410 -660 2510 -560
rect 2410 -790 2510 -690
rect 2410 -920 2510 -820
rect 2410 -1050 2510 -950
rect 2230 -1260 2330 -1160
rect 2770 -10 2870 90
rect 2770 -140 2870 -40
rect 2770 -270 2870 -170
rect 2770 -400 2870 -300
rect 2770 -530 2870 -430
rect 2770 -660 2870 -560
rect 2770 -790 2870 -690
rect 2770 -920 2870 -820
rect 2770 -1050 2870 -950
rect 2980 40 3080 140
rect 2980 -90 3080 10
rect 2980 -220 3080 -120
rect 2980 -350 3080 -250
rect 2980 -480 3080 -380
rect 2980 -610 3080 -510
rect 2980 -740 3080 -640
rect 2980 -870 3080 -770
rect 2980 -1000 3080 -900
rect 2980 -1130 3080 -1030
rect 2980 -1260 3080 -1160
rect 1530 -1740 1610 -1660
rect 1530 -1870 1610 -1790
rect 2240 -1730 2320 -1650
rect 2240 -1870 2320 -1790
rect 2950 -1730 3030 -1650
rect 2950 -1870 3030 -1790
<< metal3 >>
rect 1870 1120 1980 1130
rect 1870 1030 1880 1120
rect 1970 1040 1980 1120
rect 2220 1040 2330 1130
rect 2580 1120 2690 1130
rect 2580 1040 2590 1120
rect 1970 1030 2590 1040
rect 2680 1030 2690 1120
rect 1870 940 2690 1030
rect 1870 850 1880 940
rect 1970 930 2590 940
rect 1970 850 1980 930
rect 1870 840 1980 850
rect 2220 360 2330 930
rect 2580 850 2590 930
rect 2680 850 2690 940
rect 2580 840 2690 850
rect 1680 250 2880 360
rect 1470 140 1590 150
rect 1470 40 1480 140
rect 1580 40 1590 140
rect 1470 10 1590 40
rect 1470 -90 1480 10
rect 1580 -90 1590 10
rect 1470 -120 1590 -90
rect 1470 -220 1480 -120
rect 1580 -220 1590 -120
rect 1470 -250 1590 -220
rect 1470 -350 1480 -250
rect 1580 -350 1590 -250
rect 1470 -380 1590 -350
rect 1470 -480 1480 -380
rect 1580 -480 1590 -380
rect 1470 -510 1590 -480
rect 1470 -610 1480 -510
rect 1580 -610 1590 -510
rect 1470 -640 1590 -610
rect 1470 -740 1480 -640
rect 1580 -740 1590 -640
rect 1470 -770 1590 -740
rect 1470 -870 1480 -770
rect 1580 -870 1590 -770
rect 1470 -900 1590 -870
rect 1470 -1000 1480 -900
rect 1580 -1000 1590 -900
rect 1470 -1030 1590 -1000
rect 1470 -1130 1480 -1030
rect 1580 -1130 1590 -1030
rect 1680 90 1800 250
rect 1680 -10 1690 90
rect 1790 -10 1800 90
rect 1680 -40 1800 -10
rect 1680 -140 1690 -40
rect 1790 -140 1800 -40
rect 1680 -170 1800 -140
rect 1680 -270 1690 -170
rect 1790 -270 1800 -170
rect 1680 -300 1800 -270
rect 1680 -400 1690 -300
rect 1790 -400 1800 -300
rect 1680 -430 1800 -400
rect 1680 -530 1690 -430
rect 1790 -530 1800 -430
rect 1680 -560 1800 -530
rect 1680 -660 1690 -560
rect 1790 -660 1800 -560
rect 1680 -690 1800 -660
rect 1680 -790 1690 -690
rect 1790 -790 1800 -690
rect 1680 -820 1800 -790
rect 1680 -920 1690 -820
rect 1790 -920 1800 -820
rect 1680 -950 1800 -920
rect 1680 -1050 1690 -950
rect 1790 -1050 1800 -950
rect 1680 -1060 1800 -1050
rect 2040 90 2160 250
rect 2040 -10 2050 90
rect 2150 -10 2160 90
rect 2040 -40 2160 -10
rect 2040 -140 2050 -40
rect 2150 -140 2160 -40
rect 2040 -170 2160 -140
rect 2040 -270 2050 -170
rect 2150 -270 2160 -170
rect 2040 -300 2160 -270
rect 2040 -400 2050 -300
rect 2150 -400 2160 -300
rect 2040 -430 2160 -400
rect 2040 -530 2050 -430
rect 2150 -530 2160 -430
rect 2040 -560 2160 -530
rect 2040 -660 2050 -560
rect 2150 -660 2160 -560
rect 2040 -690 2160 -660
rect 2040 -790 2050 -690
rect 2150 -790 2160 -690
rect 2040 -820 2160 -790
rect 2040 -920 2050 -820
rect 2150 -920 2160 -820
rect 2040 -950 2160 -920
rect 2040 -1050 2050 -950
rect 2150 -1050 2160 -950
rect 2040 -1060 2160 -1050
rect 2220 140 2340 150
rect 2220 40 2230 140
rect 2330 40 2340 140
rect 2220 10 2340 40
rect 2220 -90 2230 10
rect 2330 -90 2340 10
rect 2220 -120 2340 -90
rect 2220 -220 2230 -120
rect 2330 -220 2340 -120
rect 2220 -250 2340 -220
rect 2220 -350 2230 -250
rect 2330 -350 2340 -250
rect 2220 -380 2340 -350
rect 2220 -480 2230 -380
rect 2330 -480 2340 -380
rect 2220 -510 2340 -480
rect 2220 -610 2230 -510
rect 2330 -610 2340 -510
rect 2220 -640 2340 -610
rect 2220 -740 2230 -640
rect 2330 -740 2340 -640
rect 2220 -770 2340 -740
rect 2220 -870 2230 -770
rect 2330 -870 2340 -770
rect 2220 -900 2340 -870
rect 2220 -1000 2230 -900
rect 2330 -1000 2340 -900
rect 2220 -1030 2340 -1000
rect 1470 -1160 1590 -1130
rect 2220 -1130 2230 -1030
rect 2330 -1130 2340 -1030
rect 2400 90 2520 250
rect 2400 -10 2410 90
rect 2510 -10 2520 90
rect 2400 -40 2520 -10
rect 2400 -140 2410 -40
rect 2510 -140 2520 -40
rect 2400 -170 2520 -140
rect 2400 -270 2410 -170
rect 2510 -270 2520 -170
rect 2400 -300 2520 -270
rect 2400 -400 2410 -300
rect 2510 -400 2520 -300
rect 2400 -430 2520 -400
rect 2400 -530 2410 -430
rect 2510 -530 2520 -430
rect 2400 -560 2520 -530
rect 2400 -660 2410 -560
rect 2510 -660 2520 -560
rect 2400 -690 2520 -660
rect 2400 -790 2410 -690
rect 2510 -790 2520 -690
rect 2400 -820 2520 -790
rect 2400 -920 2410 -820
rect 2510 -920 2520 -820
rect 2400 -950 2520 -920
rect 2400 -1050 2410 -950
rect 2510 -1050 2520 -950
rect 2400 -1060 2520 -1050
rect 2760 90 2880 250
rect 2760 -10 2770 90
rect 2870 -10 2880 90
rect 2760 -40 2880 -10
rect 2760 -140 2770 -40
rect 2870 -140 2880 -40
rect 2760 -170 2880 -140
rect 2760 -270 2770 -170
rect 2870 -270 2880 -170
rect 2760 -300 2880 -270
rect 2760 -400 2770 -300
rect 2870 -400 2880 -300
rect 2760 -430 2880 -400
rect 2760 -530 2770 -430
rect 2870 -530 2880 -430
rect 2760 -560 2880 -530
rect 2760 -660 2770 -560
rect 2870 -660 2880 -560
rect 2760 -690 2880 -660
rect 2760 -790 2770 -690
rect 2870 -790 2880 -690
rect 2760 -820 2880 -790
rect 2760 -920 2770 -820
rect 2870 -920 2880 -820
rect 2760 -950 2880 -920
rect 2760 -1050 2770 -950
rect 2870 -1050 2880 -950
rect 2760 -1060 2880 -1050
rect 2970 140 3090 150
rect 2970 40 2980 140
rect 3080 40 3090 140
rect 2970 10 3090 40
rect 2970 -90 2980 10
rect 3080 -90 3090 10
rect 2970 -120 3090 -90
rect 2970 -220 2980 -120
rect 3080 -220 3090 -120
rect 2970 -250 3090 -220
rect 2970 -350 2980 -250
rect 3080 -350 3090 -250
rect 2970 -380 3090 -350
rect 2970 -480 2980 -380
rect 3080 -480 3090 -380
rect 2970 -510 3090 -480
rect 2970 -610 2980 -510
rect 3080 -610 3090 -510
rect 2970 -640 3090 -610
rect 2970 -740 2980 -640
rect 3080 -740 3090 -640
rect 2970 -770 3090 -740
rect 2970 -870 2980 -770
rect 3080 -870 3090 -770
rect 2970 -900 3090 -870
rect 2970 -1000 2980 -900
rect 3080 -1000 3090 -900
rect 2970 -1030 3090 -1000
rect 2220 -1160 2340 -1130
rect 2970 -1130 2980 -1030
rect 3080 -1130 3090 -1030
rect 2970 -1160 3090 -1130
rect 1470 -1260 1480 -1160
rect 1580 -1260 2230 -1160
rect 2330 -1260 2980 -1160
rect 3080 -1260 3090 -1160
rect 1470 -1270 3090 -1260
rect 1520 -1660 1620 -1640
rect 1520 -1740 1530 -1660
rect 1610 -1710 1620 -1660
rect 2230 -1650 2330 -1270
rect 2230 -1710 2240 -1650
rect 1610 -1730 2240 -1710
rect 2320 -1710 2330 -1650
rect 2940 -1650 3040 -1640
rect 2940 -1710 2950 -1650
rect 2320 -1730 2950 -1710
rect 3030 -1730 3040 -1650
rect 1610 -1740 3040 -1730
rect 1520 -1790 3040 -1740
rect 1520 -1870 1530 -1790
rect 1610 -1820 2240 -1790
rect 1610 -1870 1620 -1820
rect 1520 -1880 1620 -1870
rect 2230 -1870 2240 -1820
rect 2320 -1820 2950 -1790
rect 2320 -1870 2330 -1820
rect 2230 -1880 2330 -1870
rect 2940 -1870 2950 -1820
rect 3030 -1870 3040 -1790
rect 2940 -1880 3040 -1870
use sky130_fd_pr__nfet_01v8_UX2DZA  XM2
transform 1 0 2279 0 1 -1796
box -879 -284 879 284
use sky130_fd_pr__pfet_01v8_23YNHG  XM3
transform 1 0 2279 0 1 -516
box -879 -884 879 884
use sky130_fd_pr__pfet_01v8_ZYDSUC  XM5
transform 1 0 2279 0 1 949
box -879 -349 879 349
<< labels >>
flabel metal1 900 500 1000 600 0 FreeSans 256 0 0 0 VN
port 2 nsew
flabel metal1 900 300 1000 400 0 FreeSans 256 0 0 0 VP
port 1 nsew
flabel metal1 2200 -2200 2300 -2160 0 FreeSans 256 0 0 0 VSS
port 5 nsew
flabel metal1 900 700 1000 800 0 FreeSans 256 0 0 0 IBIAS_5uA
port 3 nsew
flabel metal1 1300 1300 1400 1400 0 FreeSans 256 0 0 0 VIN
port 0 nsew
flabel metal1 3540 -1500 3640 -1400 0 FreeSans 256 0 0 0 OUT
port 4 nsew
<< end >>

# cell sky130_fd_pr__nfet_01v8_UX2DZA: kit device sky130_fd_pr__nfet_01v8, w 1.05 l 0.6 m 1 nf 8 diffcov 100 polycov 60 guard 1 glc 1 grc 1 gtc 1 gbc 1 tbcov 100 rlcov 100 topc 0 botc 1 poverlap 0 doverlap 1 lmin 0.15 wmin 0.42 class mosfet compatible {sky130_fd_pr__nfet_01v8 sky130_fd_pr__nfet_01v8_lvt sky130_fd_bs_flash__special_sonosfet_star sky130_fd_pr__nfet_g5v0d10v5 sky130_fd_pr__nfet_05v0_nvt sky130_fd_pr__nfet_03v3_nvt} full_metal 1 viasrc 100 viadrn 100 viagate 60 viagb 0 viagr 0 viagl 0 viagt 0

# cell sky130_fd_pr__pfet_01v8_23YNHG: kit device sky130_fd_pr__pfet_01v8, w 7.0 l 0.6 m 1 nf 8 diffcov 100 polycov 100 guard 1 glc 1 grc 1 gtc 1 gbc 1 tbcov 100 rlcov 100 topc 1 botc 0 poverlap 0 doverlap 1 lmin 0.15 wmin 0.42 class mosfet compatible {sky130_fd_pr__pfet_01v8 sky130_fd_pr__pfet_01v8_lvt sky130_fd_pr__pfet_01v8_hvt sky130_fd_pr__pfet_g5v0d10v5} full_metal 1 viasrc 100 viadrn 100 viagate 100 viagb 0 viagr 0 viagl 0 viagt 0

# cell sky130_fd_pr__pfet_01v8_ZYDSUC: kit device sky130_fd_pr__pfet_01v8, w 1.65 l 0.6 m 1 nf 8 diffcov 60 polycov 100 guard 1 glc 1 grc 1 gtc 1 gbc 1 tbcov 100 rlcov 100 topc 0 botc 1 poverlap 0 doverlap 1 lmin 0.15 wmin 0.42 class mosfet compatible {sky130_fd_pr__pfet_01v8 sky130_fd_pr__pfet_01v8_lvt sky130_fd_pr__pfet_01v8_hvt sky130_fd_pr__pfet_g5v0d10v5} full_metal 1 viasrc 0 viadrn 60 viagate 100 viagb 0 viagr 0 viagl 0 viagt 0
